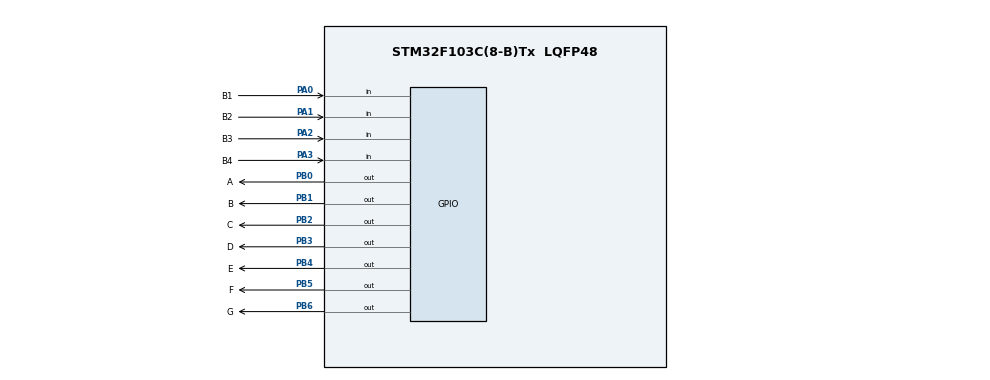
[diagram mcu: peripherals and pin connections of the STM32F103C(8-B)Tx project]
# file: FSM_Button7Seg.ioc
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Mcu.Family=STM32F1
Mcu.Name=STM32F103C(8-B)Tx
Mcu.Package=LQFP48
NVIC.PriorityGroup=NVIC_PRIORITYGROUP_4
PA0-WKUP.GPIO_Label=B1
PA0-WKUP.GPIO_PuPd=GPIO_PULLUP
PA0-WKUP.Signal=GPIO_Input
PA1.GPIO_Label=B2
PA1.GPIO_PuPd=GPIO_PULLUP
PA1.Signal=GPIO_Input
PA13.Mode=Serial_Wire
PA13.Signal=SYS_JTMS-SWDIO
PA14.Mode=Serial_Wire
PA14.Signal=SYS_JTCK-SWCLK
PA2.GPIO_Label=B3
PA2.GPIO_PuPd=GPIO_PULLUP
PA2.Signal=GPIO_Input
PA3.GPIO_Label=B4
PA3.GPIO_PuPd=GPIO_PULLUP
PA3.Signal=GPIO_Input
PB0.GPIO_Label=A
PB0.Signal=GPIO_Output
PB1.GPIO_Label=B
PB1.Signal=GPIO_Output
PB2.GPIO_Label=C
PB2.Signal=GPIO_Output
PB3.GPIO_Label=D
PB3.Signal=GPIO_Output
PB4.GPIO_Label=E
PB4.Signal=GPIO_Output
PB5.GPIO_Label=F
PB5.Signal=GPIO_Output
PB6.GPIO_Label=G
PB6.Signal=GPIO_Output
ProjectManager.HeapSize=0x200
ProjectManager.StackSize=0x400
ProjectManager.TargetToolchain=MDK-ARM V5.32
RCC.APB1Freq_Value=8000000
RCC.APB2Freq_Value=8000000
board=custom

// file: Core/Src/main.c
/* USER CODE BEGIN Header */
/**
  ******************************************************************************
  * @file           : main.c
  * @brief          : Main program body
  ******************************************************************************
  * @attention
  *
  * Copyright (c) 2025 STMicroelectronics.
  * All rights reserved.
  *
  * This software is licensed under terms that can be found in the LICENSE file
  * in the root directory of this software component.
  * If no LICENSE file comes with this software, it is provided AS-IS.
  *
  ******************************************************************************
  */
/* USER CODE END Header */
#include "main.h"

/* USER CODE BEGIN Includes */
#include "SevSeg.h"
#include "FSM.h"
/* USER CODE END Includes */

/* USER CODE BEGIN PV */
SevSeg_Conf SevSeg1 = {
	.SEG_A_PORT = A_GPIO_Port,
	.SEG_B_PORT = B_GPIO_Port,
	.SEG_C_PORT = C_GPIO_Port,
	.SEG_D_PORT = D_GPIO_Port,
	.SEG_E_PORT = E_GPIO_Port,
	.SEG_F_PORT = F_GPIO_Port,
	.SEG_G_PORT = G_GPIO_Port,

	.SEG_A_PIN = A_Pin,
	.SEG_B_PIN = B_Pin,
	.SEG_C_PIN = C_Pin,
	.SEG_D_PIN = D_Pin,
	.SEG_E_PIN = E_Pin,
	.SEG_F_PIN = F_Pin,
	.SEG_G_PIN = G_Pin,
};
FSM_Conf FSM = {
	.B1_PORT = B1_GPIO_Port,
	.B2_PORT = B2_GPIO_Port,
	.B3_PORT = B3_GPIO_Port,
	.B4_PORT = B4_GPIO_Port,

	.B1_PIN = B1_Pin,
	.B2_PIN = B2_Pin,
	.B3_PIN = B3_Pin,
	.B4_PIN = B4_Pin,
};
/* USER CODE END PV */

void SystemClock_Config(void);
static void MX_GPIO_Init(void);

int main(void)
{

  /* MCU Configuration--------------------------------------------------------*/

  /* Reset of all peripherals, Initializes the Flash interface and the Systick. */
  HAL_Init();

  /* Configure the system clock */
  SystemClock_Config();

  /* Initialize all configured peripherals */
  MX_GPIO_Init();

  /* Infinite loop */
  /* USER CODE BEGIN WHILE */
	SevSeg_Init(&SevSeg1);

  while (1)
  {
		FSM_LOOP(&FSM, &SevSeg1);
    /* USER CODE END WHILE */

  }
}

void SystemClock_Config(void)
{
  RCC_OscInitTypeDef RCC_OscInitStruct = {0};
  RCC_ClkInitTypeDef RCC_ClkInitStruct = {0};

  /** Initializes the RCC Oscillators according to the specified parameters
  * in the RCC_OscInitTypeDef structure.
  */
  RCC_OscInitStruct.OscillatorType = RCC_OSCILLATORTYPE_HSI;
  RCC_OscInitStruct.HSIState = RCC_HSI_ON;
  RCC_OscInitStruct.HSICalibrationValue = RCC_HSICALIBRATION_DEFAULT;
  RCC_OscInitStruct.PLL.PLLState = RCC_PLL_NONE;
  if (HAL_RCC_OscConfig(&RCC_OscInitStruct) != HAL_OK)
  {
    Error_Handler();
  }

  /** Initializes the CPU, AHB and APB buses clocks
  */
  RCC_ClkInitStruct.ClockType = RCC_CLOCKTYPE_HCLK|RCC_CLOCKTYPE_SYSCLK
                              |RCC_CLOCKTYPE_PCLK1|RCC_CLOCKTYPE_PCLK2;
  RCC_ClkInitStruct.SYSCLKSource = RCC_SYSCLKSOURCE_HSI;
  RCC_ClkInitStruct.AHBCLKDivider = RCC_SYSCLK_DIV1;
  RCC_ClkInitStruct.APB1CLKDivider = RCC_HCLK_DIV1;
  RCC_ClkInitStruct.APB2CLKDivider = RCC_HCLK_DIV1;

  if (HAL_RCC_ClockConfig(&RCC_ClkInitStruct, FLASH_LATENCY_0) != HAL_OK)
  {
    Error_Handler();
  }
}

static void MX_GPIO_Init(void)
{
  GPIO_InitTypeDef GPIO_InitStruct = {0};

  /* GPIO Ports Clock Enable */
  __HAL_RCC_GPIOA_CLK_ENABLE();
  __HAL_RCC_GPIOB_CLK_ENABLE();

  /*Configure GPIO pin Output Level */
  HAL_GPIO_WritePin(GPIOB, A_Pin|B_Pin|C_Pin|D_Pin
                          |E_Pin|F_Pin|G_Pin, GPIO_PIN_RESET);

  /*Configure GPIO pins : B1_Pin B2_Pin B3_Pin B4_Pin */
  GPIO_InitStruct.Pin = B1_Pin|B2_Pin|B3_Pin|B4_Pin;
  GPIO_InitStruct.Mode = GPIO_MODE_INPUT;
  GPIO_InitStruct.Pull = GPIO_PULLUP;
  HAL_GPIO_Init(GPIOA, &GPIO_InitStruct);

  /*Configure GPIO pins : A_Pin B_Pin C_Pin D_Pin
                           E_Pin F_Pin G_Pin */
  GPIO_InitStruct.Pin = A_Pin|B_Pin|C_Pin|D_Pin
                          |E_Pin|F_Pin|G_Pin;
  GPIO_InitStruct.Mode = GPIO_MODE_OUTPUT_PP;
  GPIO_InitStruct.Pull = GPIO_NOPULL;
  GPIO_InitStruct.Speed = GPIO_SPEED_FREQ_LOW;
  HAL_GPIO_Init(GPIOB, &GPIO_InitStruct);

}

void Error_Handler(void)
{
  __disable_irq();
  while (1)
  {
  }
}
